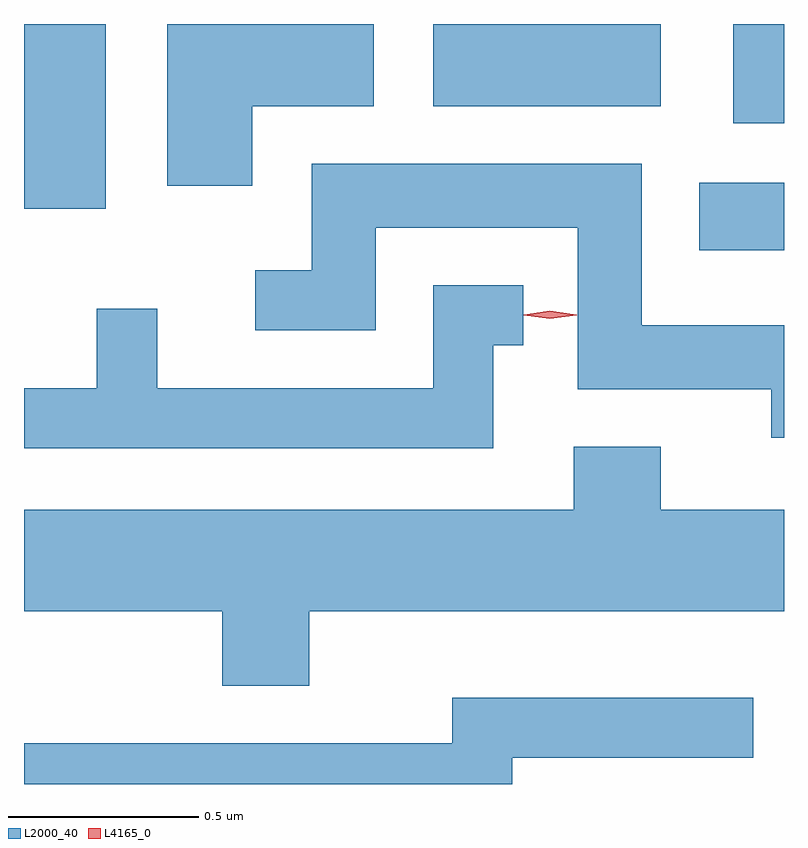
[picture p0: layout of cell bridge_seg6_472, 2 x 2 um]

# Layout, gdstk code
import gdstk
lib = gdstk.Library(unit=1e-6, precision=1e-09)
def R(c, l, rs):  # rectangles x0, y0, x1, y1
    for r in rs: c.add(gdstk.rectangle(r[:2], r[2:], *l))
def P(c, l, *ps):  # polygons
    for p in ps: c.add(gdstk.Polygon(p, *l))
L2000_40 = (2000, 40)
L4165_0 = (4165, 0)

bridge_seg6_472 = lib.new_cell('bridge_seg6_472')
R(bridge_seg6_472, L2000_40, [(809.861,1657.546,810.084,1657.724), (808.084,1657.656,808.299,1658.142), (809.951,1657.881,810.084,1658.142), (809.161,1657.926,809.759,1658.142)])
P(bridge_seg6_472, L2000_40, [(808.684,1657.926),(809.004,1657.926),(809.004,1658.142),(808.461,1658.142),(808.461,1657.716),(808.684,1657.716)],
  [(810.084,1657.349),(809.709,1657.349),(809.709,1657.774),(808.841,1657.774),(808.841,1657.494),(808.693,1657.494),(808.693,1657.336),(809.009,1657.336),(809.009,1657.606),(809.541,1657.606),(809.541,1657.181),(810.051,1657.181),(810.051,1657.053),(810.084,1657.053)],
  [(809.319,1657.296),(809.398,1657.296),(809.398,1657.454),(809.161,1657.454),(809.161,1657.184),(808.434,1657.184),(808.434,1657.393),(808.276,1657.393),(808.276,1657.184),(808.084,1657.184),(808.084,1657.026),(809.319,1657.026)],
  [(808.834,1656.596),(810.084,1656.596),(810.084,1656.864),(809.759,1656.864),(809.759,1657.029),(809.531,1657.029),(809.531,1656.864),(808.084,1656.864),(808.084,1656.596),(808.606,1656.596),(808.606,1656.401),(808.834,1656.401)],
  [(809.369,1656.211),(810.003,1656.211),(810.003,1656.369),(809.211,1656.369),(809.211,1656.249),(808.084,1656.249),(808.084,1656.142),(809.369,1656.142)])
P(bridge_seg6_472, L4165_0, [(809.468,1657.367),(809.399,1657.376),(809.399,1657.376),(809.399,1657.377),(809.468,1657.387),(809.538,1657.377),(809.538,1657.377),(809.538,1657.376)])

lib.write_gds('bridge_seg6_472.gds')
